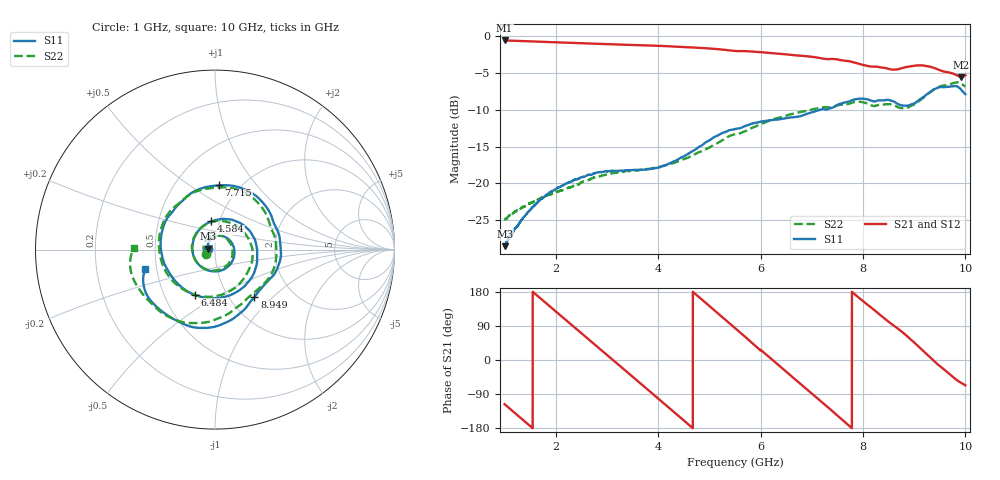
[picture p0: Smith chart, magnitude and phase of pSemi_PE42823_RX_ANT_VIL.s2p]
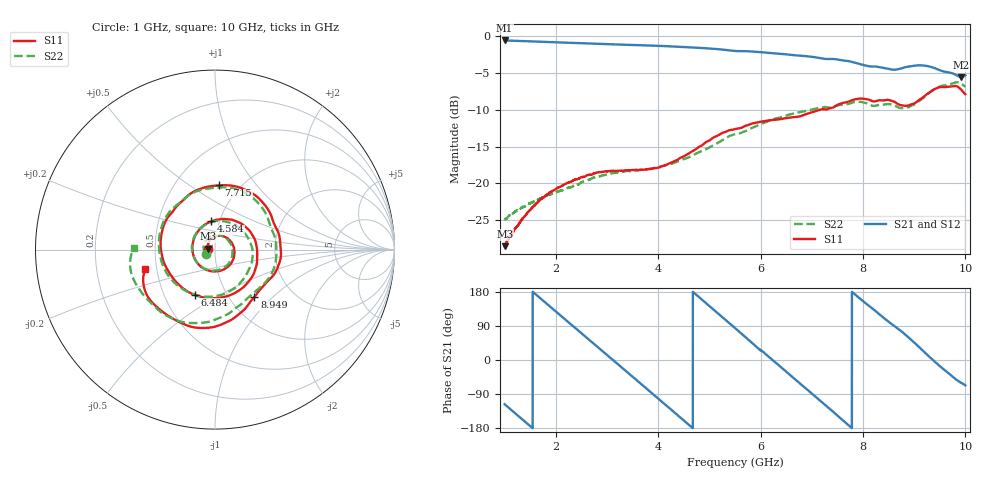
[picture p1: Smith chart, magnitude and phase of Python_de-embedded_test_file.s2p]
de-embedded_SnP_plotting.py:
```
import skrf as rf
import numpy as np
import os
import matplotlib.pyplot as plt
from matplotlib.ticker import (MultipleLocator, FormatStrFormatter, AutoMinorLocator)


# ---------------------User Input--------------------------------
# Frequency Range
freq_lower = 1e9
freq_upper = 10e9

# plot attributes
freq_step = 1e9
plt_ylim = [-30, 0]     # y axis limit: 0 to -20dB
plt_ytick = np.arange(-30, 5, 5)
plt_xlim = [freq_lower, freq_upper]
plt_xtick = np.arange(freq_lower, freq_upper+freq_step, freq_step)
plt_title_s_para = 'MFR vs de-embedded S-Parameter 1; ' + str(int(freq_lower/1e9)) + '-' + str(int(freq_upper/1e9)) + 'Ghz'
plt_title2 = ''
plt_title_s_para = plt_title_s_para + plt_title2
plt_title_smith = 'MFR vs de-embedded Smith Chart 1; ' + str(int(freq_lower/1e9)) + '-' + str(int(freq_upper/1e9)) + 'Ghz'
plt_title_smith = plt_title_smith + plt_title2
# -----------------------------------------------------------------

# reading file
# TouchStone File Path = Current directory + file name
pSemi_PE42823_TS_file = os.getcwd() + "\\S Parameter\\pSemi_PE42823_RX_ANT_VIL.s2p"
pSemi_PE42823_network = rf.Network(pSemi_PE42823_TS_file)   # open touch stone file

DeEmbedded_combined_TS_file = os.getcwd() + "\\S Parameter\\Python_de-embedded_test_file.s2p"
DeEmbedded_combined_network = rf.Network(DeEmbedded_combined_TS_file)   # open touch stone file

# change network parameter
pSemi_PE42823_network.crop(freq_lower, freq_upper, "Hz")   # only use data from 1-6Ghz
pSemi_PE42823_network.frequency.unit = 'GHz'

DeEmbedded_combined_network.crop(freq_lower, freq_upper, "Hz")   # only use data from 1-6Ghz
DeEmbedded_combined_network.frequency.unit = 'GHz'

# plot data
fig1, ax1 = plt.subplots(1)
pSemi_PE42823_network.plot_s_db(m=0, n=0, label='MFR s11', color='r')     # zero indexing; 0 refers to port 1
pSemi_PE42823_network.plot_s_db(m=1, n=0, label='MFR s21', color='b')     # zero indexing; 0 refers to port 1
pSemi_PE42823_network.plot_s_db(m=0, n=1, label='MFR s12', color='g')     # zero indexing; 0 refers to port 1
pSemi_PE42823_network.plot_s_db(m=1, n=1, label='MFR s22', color='y')     # zero indexing; 0 refers to port 1

DeEmbedded_combined_network.plot_s_db(m=0, n=0, label='DeEmbedded s11', color='r', linestyle='--')     # zero indexing; 0 refers to port 1
DeEmbedded_combined_network.plot_s_db(m=1, n=0, label='DeEmbedded s21', color='b', linestyle='--')     # zero indexing; 0 refers to port 1
DeEmbedded_combined_network.plot_s_db(m=0, n=1, label='DeEmbedded s12', color='g', linestyle='--')     # zero indexing; 0 refers to port 1
DeEmbedded_combined_network.plot_s_db(m=1, n=1, label='DeEmbedded s22', color='y', linestyle='--')     # zero indexing; 0 refers to port 1

ax1.set_ylim(plt_ylim)
ax1.yaxis.set_ticks(plt_ytick)
ax1.set_xlim(plt_xlim)
ax1.xaxis.set_ticks(plt_xtick)
ax1.yaxis.set_minor_locator(AutoMinorLocator())      # show minor tick
ax1.xaxis.set_minor_locator(AutoMinorLocator())      # show minor tick
ax1.grid(True, which='major', linestyle='-')
ax1.grid(True, which='minor', linestyle=':')
ax1.legend(loc='upper left', bbox_to_anchor=(1, 1))  # loc='legend box ref position'
ax1.set_title(plt_title_s_para)
fig1.set_size_inches(12, 6)
plt.subplots_adjust(left=0.1, right=0.8)
plt.savefig(fname=plt_title_s_para, dpi=300, bbox_inches='tight')

fig1, ax1 = plt.subplots(1)
pSemi_PE42823_network.plot_s_smith(m=0, n=0, label='MFR s11', color='r')
pSemi_PE42823_network.plot_s_smith(m=1, n=1, label='MFR s22', color='y')

DeEmbedded_combined_network.plot_s_smith(m=0, n=0, label='DeEmbedded s11', color='r', linestyle='--')     # zero indexing; 0 refers to port 1
DeEmbedded_combined_network.plot_s_smith(m=1, n=1, label='DeEmbedded s22', color='y', linestyle='--')     # zero indexing; 0 refers to port 1

ax1.set_title(plt_title_smith)
ax1.legend(loc='upper left', bbox_to_anchor=(0.9, 0.9))  # loc='legend box ref position'
fig1.set_size_inches(6, 6)
plt.savefig(fname=plt_title_smith, dpi=300, bbox_inches='tight')

plt.show()
```
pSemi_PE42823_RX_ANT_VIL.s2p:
# Hz S RI R 50
! CMT, C4220, 17028609, 19.4.3/2
! Date: 4/22/2020 1:44:20 PM
! Data: Format (Calibration Info)
! Freq	S11:Re/Im(F2)	S21:Re/Im(F2)	S12:Re/Im(F2)	S22:Re/Im(F2)
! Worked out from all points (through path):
!   9001 points, 1 GHz to 10 GHz, reference 50 ohm
!   highest |S21| = -0.61 dB at 1 GHz (marker M1); lowest = -5.6 dB at 9.917 GHz (marker M2)
!   group delay of S21, straight-line fit = 320 ps
!   lowest |S11| = -28.5 dB at 1.001 GHz (marker M3), VSWR 1.08, Z = 46.4 + j0.416 ohm
!   |S11| at or under -10 dB: start of sweep to 7.168 GHz; 7.279877 GHz to 7.280142 GHz (265.1 kHz wide, 0.00364 % of centre)
!   |S22| runs from -24.9 to -6.3 dB; largest |S21 - S12| = 0.038
!   S11 on the Smith chart (normalised r, x): 1 GHz: 0.93, +0.01; 4.584 GHz: 0.92, +0.30; 6.484 GHz: 0.71, -0.39; 7.715 GHz: 0.80, +0.66; 8.949 GHz: 1.30, -0.78; 10 GHz: 0.43, -0.11
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1e9  -0.0373 0.00434  -0.4173 -0.833  -0.4139 -0.8354  -0.0521 -0.0233
1.001e9  -0.0372 0.00448  -0.419 -0.8321  -0.4158 -0.8348  -0.0522 -0.0233
2.222e9  0.0926 0.0393  -0.1958 0.8778  -0.1978 0.8775  0.0863 0.0342
3.141e9  0.0132 -0.1208  0.8752 -0.0431  0.876 -0.0439  -0.0119 -0.1171
4.584e9  -0.0198 0.1572  -0.8245 -0.1562  -0.8269 -0.1465  -0.0486 0.1413
5.5e9  0.2333 0.00905  0.0779 0.7869  0.0749 0.7883  0.2066 -0.0629
6.484e9  -0.1097 -0.2533  0.6571 -0.3639  0.6516 -0.3747  -0.1984 -0.2073
7.715e9  0.0217 0.3578  -0.6682 -0.0969  -0.6698 -0.0855  0.0142 0.3453
8.949e9  0.2199 -0.2648  0.3809 0.4943  0.3905 0.4858  0.1513 -0.3006
9.917e9  -0.4005 -0.163  0.2616 -0.4556  0.2515 -0.4613  -0.4717 -0.0551
1e10  -0.3875 -0.1099  0.2122 -0.4978  0.2014 -0.5026  -0.4532 0.0107
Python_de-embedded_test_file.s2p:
!Created with skrf (http://scikit-rf.org).
# GHz S RI R 50.0
!freq ReS11 ImS11 ReS21 ImS21 ReS12 ImS12 ReS22 ImS22
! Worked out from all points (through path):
!   9001 points, 1 GHz to 10 GHz, reference 50 ohm
!   highest |S21| = -0.61 dB at 1 GHz (marker M1); lowest = -5.6 dB at 9.917 GHz (marker M2)
!   group delay of S21, straight-line fit = 320 ps
!   lowest |S11| = -28.5 dB at 1.001 GHz (marker M3), VSWR 1.08, Z = 46.4 + j0.416 ohm
!   |S11| at or under -10 dB: start of sweep to 7.168 GHz; 7.279877 GHz to 7.280142 GHz (265.1 kHz wide, 0.00364 % of centre)
!   |S22| runs from -24.9 to -6.3 dB; largest |S21 - S12| = 0.038
!   S11 on the Smith chart (normalised r, x): 1 GHz: 0.93, +0.01; 4.584 GHz: 0.92, +0.30; 6.484 GHz: 0.71, -0.39; 7.715 GHz: 0.80, +0.66; 8.949 GHz: 1.30, -0.78; 10 GHz: 0.43, -0.11
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1  -0.0373 0.00434  -0.4173 -0.833  -0.4139 -0.8354  -0.0521 -0.0233
1.001  -0.0372 0.00448  -0.419 -0.8321  -0.4158 -0.8348  -0.0522 -0.0233
2.222  0.0926 0.0393  -0.1958 0.8778  -0.1978 0.8775  0.0863 0.0342
3.141  0.0132 -0.1208  0.8752 -0.0431  0.876 -0.0439  -0.0119 -0.1171
4.584  -0.0198 0.1572  -0.8245 -0.1562  -0.8269 -0.1465  -0.0486 0.1413
5.5  0.2333 0.00905  0.0779 0.7869  0.0749 0.7883  0.2066 -0.0629
6.484  -0.1097 -0.2533  0.6571 -0.3639  0.6516 -0.3747  -0.1984 -0.2073
7.715  0.0217 0.3578  -0.6682 -0.0969  -0.6698 -0.0855  0.0142 0.3453
8.949  0.2199 -0.2648  0.3809 0.4943  0.3905 0.4858  0.1513 -0.3006
9.917  -0.4005 -0.163  0.2616 -0.4556  0.2515 -0.4613  -0.4717 -0.0551
10  -0.3875 -0.1099  0.2122 -0.4978  0.2014 -0.5026  -0.4532 0.0107
